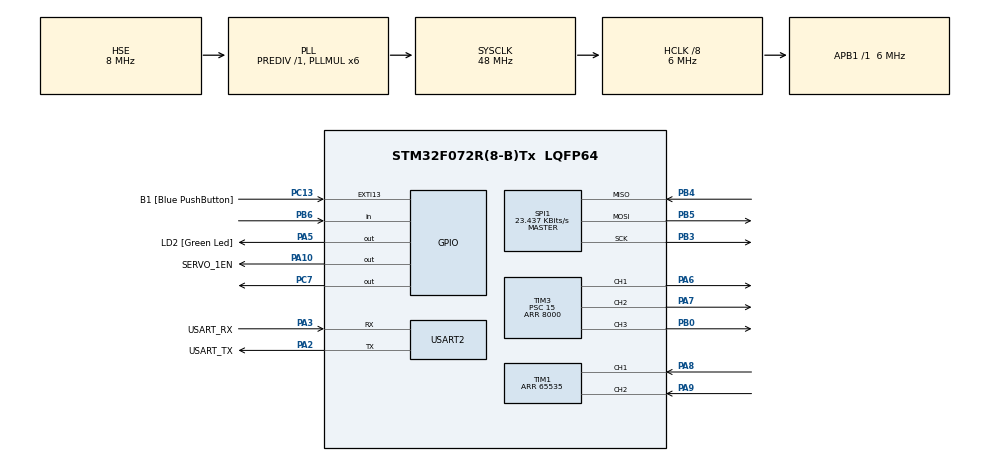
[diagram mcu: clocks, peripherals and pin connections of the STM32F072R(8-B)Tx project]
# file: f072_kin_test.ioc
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Mcu.Family=STM32F0
PA2.GPIO_PuPd=GPIO_NOPULL
SPI1.VirtualType=VM_MASTER
PA14.GPIO_Label=TCK
PA3.GPIO_PuPd=GPIO_NOPULL
PA2.GPIO_Speed=GPIO_SPEED_FREQ_LOW
TIM1.EncoderMode=TIM_ENCODERMODE_TI12
PC13.GPIO_Label=B1 [Blue PushButton]
PA3.GPIO_Speed=GPIO_SPEED_FREQ_LOW
RCC.SYSCLKSource=RCC_SYSCLKSOURCE_PLLCLK
ProjectManager.StackSize=0x400
SPI1.Direction=SPI_DIRECTION_2LINES
RCC.HCLKFreq_Value=6000000
TIM3.Period=8000
PB6.Signal=GPIO_Input
PC7.Signal=GPIO_Output
SPI1.CalculateBaudRate=23.437 KBits/s
RCC.AHBFreq_Value=6000000
TIM3.Channel-PWM\ Generation1\ CH1=TIM_CHANNEL_1
RCC.PREFETCH_ENABLE-AdvancedSettings=1
PB3.Mode=Full_Duplex_Master
USART2.VirtualMode-Asynchronous=VM_ASYNC
RCC.PLLMUL=RCC_PLL_MUL6
TIM1.IC2Polarity=TIM_ICPOLARITY_RISING
PB4.Mode=Full_Duplex_Master
PC14-OSC32_IN.Mode=LSE-External-Oscillator
PA14.Mode=Serial_Wire
Dma.MEMTOMEM.0.Instance=DMA1_Channel1
TIM3.Prescaler=15
PA5.GPIO_PuPd=GPIO_NOPULL
PB5.Mode=Full_Duplex_Master
SPI1.DataSize=SPI_DATASIZE_15BIT
PA10.GPIO_Label=SERVO_1EN
PA8.Signal=S_TIM1_CH1
SH.S_TIM3_CH1.0=TIM3_CH1,PWM Generation1 CH1
RCC.FLatency-AdvancedSettings=FLASH_LATENCY_1
Mcu.Package=LQFP64
PA6.Signal=S_TIM3_CH1
USART2.VirtualMode=VM_ASYNC
Dma.MEMTOMEM.0.PeriphInc=DMA_PINC_ENABLE
PA2.GPIO_Label=USART_TX
PA10.Signal=GPIO_Output
RCC.APB1TimFreq_Value=6000000
TIM1.Period=65535
Dma.Request0=MEMTOMEM
SPI1.BaudRatePrescaler=SPI_BAUDRATEPRESCALER_256
PF1-OSC_OUT.Signal=RCC_OSC_OUT
PB4.Signal=SPI1_MISO
PA3.Signal=USART2_RX
PA2.GPIO_Mode=GPIO_MODE_AF_PP
RCC.PLLSourceVirtual=RCC_PLLSOURCE_HSE
PC15-OSC32_OUT.Mode=LSE-External-Oscillator
Dma.MEMTOMEM.0.MemDataAlignment=DMA_MDATAALIGN_BYTE
Dma.MEMTOMEM.0.Priority=DMA_PRIORITY_LOW
PC13.Signal=GPXTI13
PC14-OSC32_IN.Signal=RCC_OSC32_IN
SH.S_TIM3_CH3.0=TIM3_CH3,PWM Generation3 CH3
PA13.Signal=SYS_SWDIO
PA3.Mode=Asynchronous
TIM3.Channel-PWM\ Generation3\ CH3=TIM_CHANNEL_3
SH.S_TIM1_CH1.0=TIM1_CH1,Encoder_Interface
ProjectManager.TargetToolchain=SW4STM32
PA3.GPIO_Mode=GPIO_MODE_AF_PP
PA9.Signal=S_TIM1_CH2
PC15-OSC32_OUT.Signal=RCC_OSC32_OUT
PF0-OSC_IN.Mode=HSE-External-Clock-Source
PA5.Signal=GPIO_Output
SH.S_TIM3_CH2.0=TIM3_CH2,PWM Generation2 CH2
board=NUCLEO-F072RB
NVIC.TIM3_IRQn=true\:0\:0\:false\:false\:true\:true\:true
NVIC.SPI1_IRQn=true\:0\:0\:false\:false\:true\:true\:true
SH.S_TIM1_CH2.0=TIM1_CH2,Encoder_Interface
SPI1.Mode=SPI_MODE_MASTER
TIM1.IC2Filter=4
RCC.AHBCLKDivider=RCC_SYSCLK_DIV8
PA13.Mode=Serial_Wire
Mcu.Name=STM32F072R(8-B)Tx
PA13.GPIO_Label=TMS
PA2.Signal=USART2_TX
Dma.MEMTOMEM.0.PeriphDataAlignment=DMA_PDATAALIGN_BYTE
PB3.Signal=SPI1_SCK
RCC.SYSCLKFreq_VALUE=48000000
PB5.Signal=SPI1_MOSI
PA5.GPIO_Label=LD2 [Green Led]
TIM1.IC1Filter=4
Dma.MEMTOMEM.0.Mode=DMA_NORMAL
PC13.GPIO_ModeDefaultEXTI=GPIO_MODE_IT_FALLING
Dma.MEMTOMEM.0.MemInc=DMA_MINC_ENABLE
TIM1.IC1Polarity=TIM_ICPOLARITY_FALLING
PA14.Signal=SYS_SWCLK
ProjectManager.HeapSize=0x200
PA5.GPIO_Speed=GPIO_SPEED_FREQ_LOW
TIM3.Channel-PWM\ Generation2\ CH2=TIM_CHANNEL_2
PA2.Mode=Asynchronous
Dma.MEMTOMEM.0.Direction=DMA_MEMORY_TO_MEMORY
NVIC.DMA1_Channel1_IRQn=true\:0\:0\:false\:false\:true\:true\:true
PF0-OSC_IN.Signal=RCC_OSC_IN
RCC.APB1Freq_Value=6000000
PA5.GPIO_Mode=GPIO_MODE_OUTPUT_PP
PB0.Signal=S_TIM3_CH3
PA3.GPIO_Label=USART_RX
PA7.Signal=S_TIM3_CH2

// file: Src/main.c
/* USER CODE BEGIN Header */
/**
  ******************************************************************************
  * @file           : main.c
  * @brief          : Main program body
  ******************************************************************************
  * @attention
  *
  * <h2><center>&copy; Copyright (c) 2020 STMicroelectronics.
  * All rights reserved.</center></h2>
  *
  * This software component is licensed by ST under BSD 3-Clause license,
  * the "License"; You may not use this file except in compliance with the
  * License. You may obtain a copy of the License at:
  *                        opensource.org/licenses/BSD-3-Clause
  *
  ******************************************************************************
  */
/* USER CODE END Header */

#include "main.h"
#include "dma.h"
#include "spi.h"
#include "tim.h"
#include "usart.h"
#include "gpio.h"

/* USER CODE BEGIN Includes */
#include "kin.h"
#include "traj.h"
#include "consts.h"
#include "math_util.h"

/* USER CODE END Includes */

/* USER CODE BEGIN PV */
int16_t pos_dbl_buf[2][NUM_POS][3] = { 0 };
volatile int16_t pos[NUM_POS][3] = { 0 };
// TEMP
volatile int16_t elog[NUM_ELOG][2] = { 0 };
volatile uint16_t elog_idx = 0;

uint8_t buf_fresh = 0;
uint16_t tick_fin_buf = 0, tick_fin = 0, tick_cur = 0;
int32_t A[4] = { 0, A1, A2, A3 };

extern volatile uint8_t mcp1130_ch;
extern volatile uint16_t mcp1130_mosi;
extern volatile uint16_t I_safety_buf, ERROR_safety_buf;

const joint_phys_t JOINT_PHYS[3] = {
		{ T0_HW, SMAX_HW, I_HW },
		{ T0_HS, SMAX_HS, I_HS },
		{ T0_DS, SMAX_DS, I_DS },
};
const uint16_t MIDs[3] = { CCR_MID_HW, CCR_MID_HS, CCR_MID_DS };
const uint16_t RNGs[3] = { RNG_HW / 2, RNG_HS / 2, RNG_DS / 2 };
const uint16_t PER_RADS[3] = { 1, CCR_PER_RAD_HS, CCR_PER_RAD_DS };
int32_t vf_prev[3] = { 0 }; // previous final velocity
int32_t t_prev[3] = { 0 }; // previous target angles (after inv kin)
const int8_t RHR_SGNS[3] = { SGN_HW, SGN_HS, SGN_DS };

// TEMP
#define NUM_CART_POS 2
int32_t Ts_[NUM_CART_POS][6] = {
		{ A2, A1+20, -(A3-40), 0, 77, -77 },
		{ -A2, A1+20, A3-40, 0, -77, 77 },
};
volatile uint8_t Ts_idx = 0;
/* USER CODE END PV */

void SystemClock_Config(void);

/* USER CODE BEGIN 0 */
int32_t inter = 0;
/* USER CODE END 0 */

int main(void)
    {

  /* MCU Configuration--------------------------------------------------------*/

  /* Reset of all peripherals, Initializes the Flash interface and the Systick. */
  HAL_Init();

  /* Configure the system clock */
  SystemClock_Config();

  /* Initialize all configured peripherals */
  MX_GPIO_Init();
  MX_DMA_Init();
  MX_TIM3_Init();
  MX_USART2_UART_Init();
  MX_SPI1_Init();
  MX_TIM1_Init();
  /* USER CODE BEGIN 2 */
  HAL_TIM_Base_Start(&htim1);
  HAL_TIM_Base_Start_IT(&htim3);
  htim3.Instance->CCER |= TIM_CCER_CC1E | TIM_CCER_CC2E | TIM_CCER_CC3E;
  __HAL_TIM_SET_COUNTER(&htim1, -51);
//  __HAL_TIM_SET_COMPARE(&htim3, TIM_CHANNEL_1, CCR_MID_HS);

  mcp1130_txrx();
//  uint8_t i = 0;
//  while(i < NUM_POS) {
//	  if(hspi1.State == HAL_SPI_STATE_READY) {
//		  pot[i] = ERROR_safety_buf & 0x3FF;
//		  __HAL_TIM_SET_COMPARE(&htim3, TIM_CHANNEL_2, CCR_MID_HS + (pos[i][0] << 1));
//		  HAL_Delay(100);
//		  mcp1130_txrx();
//		  i++;
//	  }
//  }
//  __HAL_TIM_SET_COMPARE(&htim3, TIM_CHANNEL_2, CCR_MID_HS + (pos[0][0] << 1));
//  pot[0]++;
  /* USER CODE END 2 */

  /* Infinite loop */
  /* USER CODE BEGIN WHILE */
  uint16_t k = CCR_MID_DS, edge = 0;
  while (1)
  {
    /* USER CODE END WHILE */

    /* USER CODE BEGIN 3 */

	  {
		  if(HAL_GPIO_ReadPin(B1_GPIO_Port, B1_Pin) == GPIO_PIN_RESET && !edge) {
			  __HAL_TIM_SET_COMPARE(&htim3, TIM_CHANNEL_1, k += 2);
			  edge = 1;
		  }
		  if(HAL_GPIO_ReadPin(B1_GPIO_Port, B1_Pin) == GPIO_PIN_SET)
			  edge = 0;

		  HAL_GPIO_WritePin(LD2_GPIO_Port, LD2_Pin, (k >> 1) & 1);
	  }

	  if(0) {
		  while(buf_fresh) {}; // TEMP
		  int32_t max_tf = 0;
		  int32_t t[3], v[3], tf[3], tbnd[2];
		  uint8_t _converged = 1;
		  if(!inv_kin(A, Ts_[Ts_idx & (NUM_CART_POS - 1)], t, t_prev[0])) {
			  for(uint8_t i = 0; i < 3 && _converged; i++) {
				  uint8_t j = 0;
				  for(int32_t v_ = Ts_[Ts_idx & (NUM_CART_POS - 1)][i + 3]; j < TRAJ_ITER_LIM; v_ /= 2, j++) {
					  if(!traj_t(t_prev[i], t[i], vf_prev[i], v_, tbnd, &JOINT_PHYS[i]) && tbnd[1] > 0) {
						  tf[i] = (1 << _TW) / tbnd[1];
						  v[i] = v_;
//						  if(tf_ > 2 * MAX_TF)
//							  _converged = 0;
						  break;
					  }
				  }
				  if(j == TRAJ_ITER_LIM) {
					  _converged = 0;
					  break;
				  }
			  }
		  }
		  for(uint8_t i = 0; i < 3; i++) {
			  if(tf[i] > max_tf)
				  max_tf = tf[i];
		  }

		  tick_fin_buf = max_tf * 6 * TIM3_FREQ >> _W; // WATCH: TIM3_FREQ is base units
		  if(_converged) {
			  for(uint8_t i = 0; i < NUM_POS; i++) {
				  for(uint8_t j = 0; j < 3; j++) {
					  inter = lerp(t_prev[j], t[j], vf_prev[j], v[j], max_tf, (i * max_tf) / (NUM_POS - 1)) * PER_RADS[j]; // WATCH: NUM_POS and PER_RADS is base units
					  pos_dbl_buf[0][i][j] = max(-RNGs[j], min(RNGs[j], inter >> _W)) * RHR_SGNS[j]; // CONVERT
					  // interestingly, the integer arithmetic introduces rounding-like errors, not only floor-like errors (e.g. skips up to 2)
				  }
			  }
	//		  for(uint8_t i = 0
	//		    ; i < 32 && HAL_DMA_Start(&hdma_memtomem_dma1_channel1, &pos_dbl_buf[0], &pos_dbl_buf[1], NUM_POS * 3) != HAL_OK
	//		    ; i++) {}
			  memcpy(&pos_dbl_buf[1], &pos_dbl_buf[0], sizeof(pos_dbl_buf[0][0][0]) * NUM_POS * 3);
			  for(uint8_t i = 0; i < 3; i++) {
				  vf_prev[i] = v[i];
				  t_prev[i] = t[i];
			  }
//			  memcpy(&vf_prev, &v, 3 * sizeof(int32_t));
			  buf_fresh = 1;

		  }
		  HAL_GPIO_TogglePin(LD2_GPIO_Port, LD2_Pin);
	  }
  }
  /* USER CODE END 3 */
}

void SystemClock_Config(void)
{
  RCC_OscInitTypeDef RCC_OscInitStruct = {0};
  RCC_ClkInitTypeDef RCC_ClkInitStruct = {0};
  RCC_PeriphCLKInitTypeDef PeriphClkInit = {0};

  /** Initializes the CPU, AHB and APB busses clocks
  */
  RCC_OscInitStruct.OscillatorType = RCC_OSCILLATORTYPE_HSE;
  RCC_OscInitStruct.HSEState = RCC_HSE_BYPASS;
  RCC_OscInitStruct.PLL.PLLState = RCC_PLL_ON;
  RCC_OscInitStruct.PLL.PLLSource = RCC_PLLSOURCE_HSE;
  RCC_OscInitStruct.PLL.PLLMUL = RCC_PLL_MUL6;
  RCC_OscInitStruct.PLL.PREDIV = RCC_PREDIV_DIV1;
  if (HAL_RCC_OscConfig(&RCC_OscInitStruct) != HAL_OK)
  {
    Error_Handler();
  }
  /** Initializes the CPU, AHB and APB busses clocks
  */
  RCC_ClkInitStruct.ClockType = RCC_CLOCKTYPE_HCLK|RCC_CLOCKTYPE_SYSCLK
                              |RCC_CLOCKTYPE_PCLK1;
  RCC_ClkInitStruct.SYSCLKSource = RCC_SYSCLKSOURCE_PLLCLK;
  RCC_ClkInitStruct.AHBCLKDivider = RCC_SYSCLK_DIV8;
  RCC_ClkInitStruct.APB1CLKDivider = RCC_HCLK_DIV1;

  if (HAL_RCC_ClockConfig(&RCC_ClkInitStruct, FLASH_LATENCY_1) != HAL_OK)
  {
    Error_Handler();
  }
  PeriphClkInit.PeriphClockSelection = RCC_PERIPHCLK_USART2;
  PeriphClkInit.Usart2ClockSelection = RCC_USART2CLKSOURCE_PCLK1;
  if (HAL_RCCEx_PeriphCLKConfig(&PeriphClkInit) != HAL_OK)
  {
    Error_Handler();
  }
}

/* USER CODE BEGIN 4 */
void mcp1130_txrx() {
	HAL_GPIO_WritePin(GPIOA, GPIO_PIN_10, GPIO_PIN_SET);
	asm("nop;nop;nop;nop;nop;nop;nop;nop;nop;nop;nop;nop;nop;nop;nop;nop;"); // try to guarantee at least 330ns of hold time
	HAL_GPIO_WritePin(GPIOA, GPIO_PIN_10, GPIO_PIN_RESET);
	asm("nop;nop;nop;nop;nop;"); // try to guarantee at least 100/0.96 ns of hold time
	mcp1130_mosi = MCP3002_CONFIG | (mcp1130_ch << MCP3002_ODD_SIGN_Pos);
	uint16_t *rx = mcp1130_ch ? &ERROR_safety_buf : &I_safety_buf;
	HAL_SPI_TransmitReceive_IT(&hspi1, &mcp1130_mosi, rx, 1);
}
/* USER CODE END 4 */

void Error_Handler(void)
{
}

/************************ (C) COPYRIGHT STMicroelectronics *****END OF FILE****/
